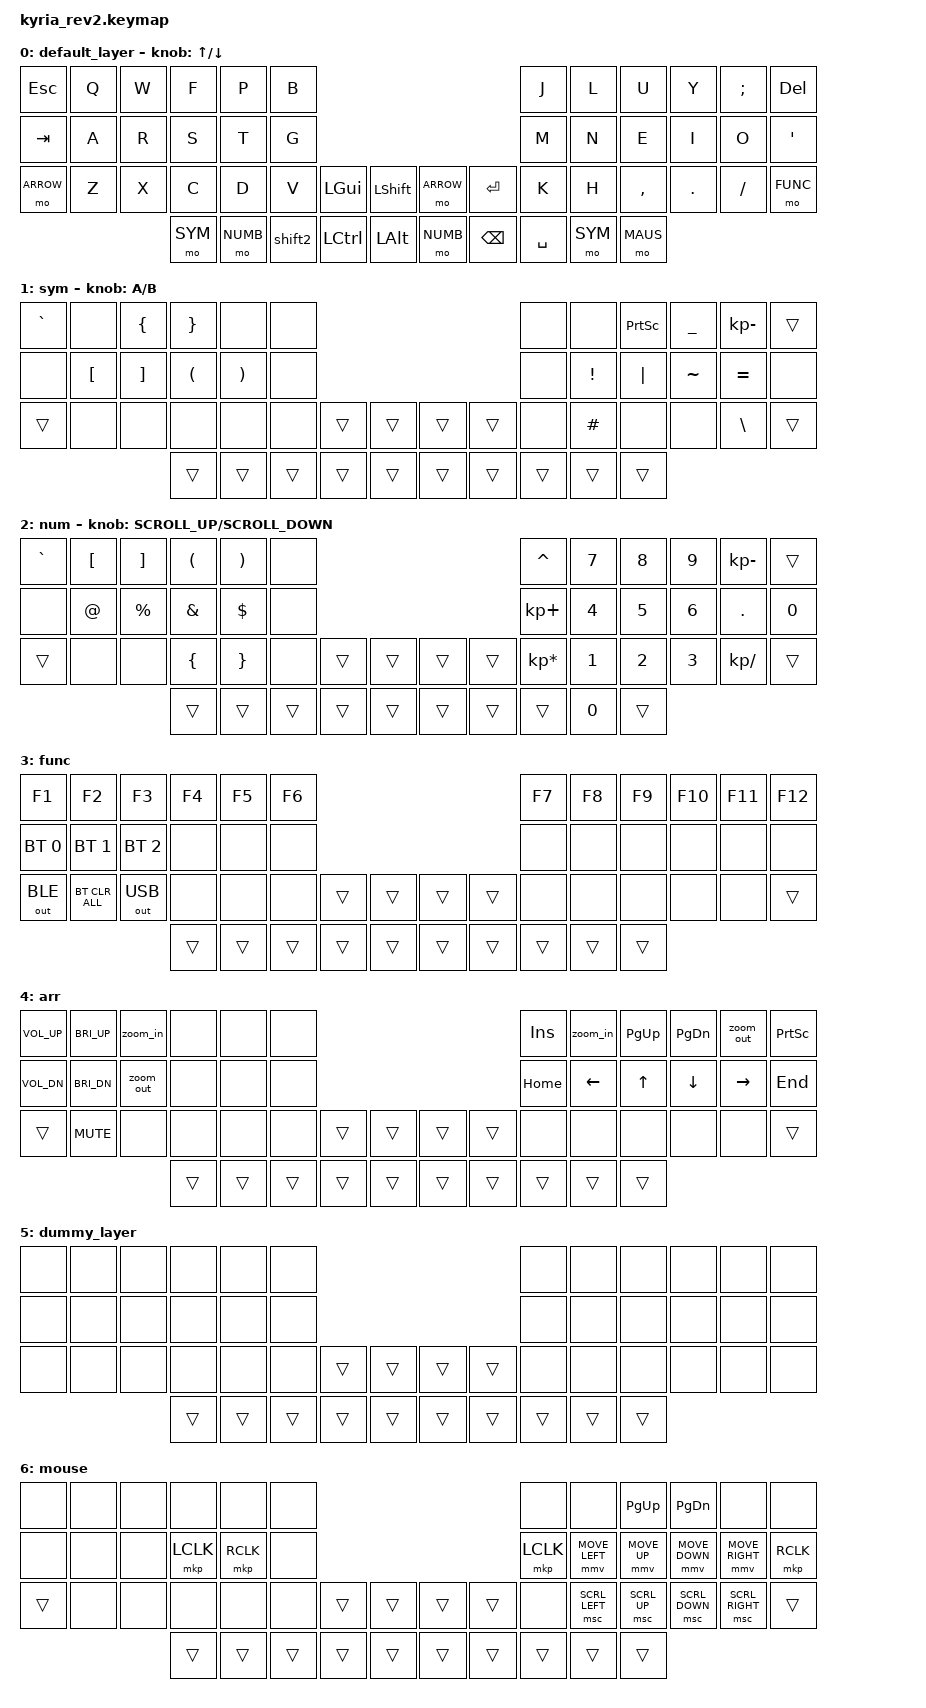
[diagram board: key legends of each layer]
/*
 * Copyright (c) 2020 The ZMK Contributors
 *
 * SPDX-License-Identifier: MIT
 */
// https://zmk.dev/docs/codes/keyboard-keypad
// https://zmk.dev/docs/behaviors/mod-morph
// https://github.com/sebanalysis/zmk-config/actions
// https://zmk.dev/docs/behaviors/tap-dance

#include <behaviors.dtsi>
#include <dt-bindings/zmk/keys.h>
#include <dt-bindings/zmk/bt.h>
#include <dt-bindings/zmk/outputs.h>

// mouse 
#define ZMK_POINTING_DEFAULT_MOVE_VAL 600  // default: 600
#define ZMK_POINTING_DEFAULT_SCRL_VAL 20   // default: 10
#include <dt-bindings/zmk/pointing.h>

/* Mouse scroll: remove ramp-up delay (instant scroll) */
&msc {
	time-to-max-speed-ms = <0>;
	acceleration-exponent = <1>;
};


#define DEFAULT 0
#define SYM 1
#define NUMB 2
#define FUNC 3
#define ARROW 4
#define DUMMY 5
#define MAUS 6


	


/ {
	
	conditional_layers {
        compatible = "zmk,conditional-layers";
        tri_layer {
            if-layers = <4 2>;
            then-layer = <5>;
		};
	};

    macros {
		zoom_out: zoom_out {
			label = "macro_zoom_out";
			compatible = "zmk,behavior-macro";
			#binding-cells = <0>;
			bindings
				= <&macro_press &kp LCTRL>
				, <&macro_tap &kp KP_MINUS>
				, <&macro_release &kp LCTRL>
				;
		};

		zoom_in: zoom_in {
			label = "macro_zoom_in";
			compatible = "zmk,behavior-macro";
			#binding-cells = <0>;
			bindings
				= <&macro_press &kp LCTRL>
				, <&macro_tap &kp KP_PLUS>
				, <&macro_release &kp LCTRL>
				;
		};
	};


	behaviors {
	
	  /* Tap-dance: tap = Shift, double-tap = Caps Lock */
	  shift2: shift2 {
	    compatible = "zmk,behavior-tap-dance";
	    label = "SHIFT2";
	    #binding-cells = <0>;
	    tapping-term-ms = <200>;
	    bindings = <&kp LSHIFT>, <&kp CAPSLOCK>;
	  };
	
	};



    keymap {
        compatible = "zmk,keymap";

        default_layer {
            bindings = <    
                &kp ESC             &kp Q           &kp W           &kp F      &kp P       &kp B                                                                       &kp J           &kp L          &kp U          &kp Y          &kp SEMI       &kp DEL
                &kp TAB             &kp A           &kp R           &kp S      &kp T       &kp G                                                                       &kp M           &kp N          &kp E          &kp I          &kp O          &kp SQT
                &mo ARROW           &kp Z           &kp X           &kp C      &kp D       &kp V   &kp LGUI        &kp LSHIFT              &mo ARROW        &kp RET    &kp K           &kp H          &kp COMMA      &kp DOT        &kp SLASH      &mo FUNC
                                                                    &mo SYM    &mo NUMB    &shift2 &kp LCTRL       &kp LALT                &mo NUMB         &kp BSPC   &kp SPACE       &mo SYM        &mo MAUS
            >;            
            sensor-bindings = <&inc_dec_kp UP DOWN>;            
        };          

        sym {          
            bindings = <            
                &kp GRAVE       &none           &kp LBRC        &kp RBRC    &none       &none                                                                     &none          &none               &kp PSCRN       &kp UNDER       &kp KP_MINUS    &trans
                &none           &kp LBKT        &kp RBKT        &kp LPAR    &kp RPAR    &none                                                                     &none          &kp EXCL            &kp PIPE        &kp TILDE       &kp EQUAL       &none
                &trans          &none           &none           &none       &none       &none    &trans       &trans                    &trans      &trans        &none          &kp HASH            &none           &none           &kp BSLH        &trans
                                                                &trans      &trans      &trans   &trans       &trans                    &trans      &trans        &trans         &trans              &trans                                           
            >;              
            sensor-bindings = <&inc_dec_kp A B>;                
        };                  

        num {               
            bindings = <            
                &kp GRAVE         &kp LBKT        &kp RBKT        &kp LPAR    &kp RPAR    &none                                                                      &kp CARET        &kp N7             &kp N8          &kp N9          &kp KP_MINUS    &trans
                &none             &kp AT          &kp PRCNT       &kp AMPS    &kp DLLR    &none                                                                      &kp KP_PLUS      &kp N4             &kp N5          &kp N6          &kp DOT         &kp N0
                &trans            &none           &none           &kp LBRC    &kp RBRC    &none   &trans       &trans                     &trans      &trans         &kp KP_ASTERISK  &kp N1             &kp N2          &kp N3          &kp KP_SLASH    &trans  
                                                                  &trans      &trans      &trans  &trans       &trans                     &trans      &trans         &trans           &kp N0             &trans                                               
            
            >;              
            sensor-bindings = <&inc_dec_kp K_SCROLL_UP K_SCROLL_DOWN>;              
        };              

        func {             
            bindings = <                
                &kp F1          &kp F2          &kp F3          &kp F4      &kp F5      &kp F6                                                                     &kp F7          &kp F8              &kp F9          &kp F10         &kp F11         &kp F12
                &bt BT_SEL 0    &bt BT_SEL 1    &bt BT_SEL 2    &none       &none       &none                                                                      &none           &none               &none           &none           &none           &none
                &out OUT_BLE    &bt BT_CLR_ALL  &out OUT_USB    &none       &none       &none   &trans       &trans                     &trans      &trans         &none           &none               &none           &none           &none           &trans
                                                                &trans      &trans      &trans  &trans       &trans                     &trans      &trans         &trans          &trans              &trans                                              
            >;          
        };    

        
        arr {          
            bindings = <            
                &kp C_VOL_UP   &kp C_BRI_UP     &zoom_in        &none       &none          &none                                                                      &kp INSERT      &zoom_in               &kp PG_UP       &kp PG_DN       &zoom_out             &kp PSCRN                      
                &kp C_VOL_DN   &kp C_BRI_DN     &zoom_out       &none       &none          &none                                                                      &kp HOME        &kp LEFT               &kp UP          &kp DOWN        &kp RIGHT             &kp END    
                &trans         &kp C_MUTE       &none           &none       &none          &none    &trans      &trans                     &trans      &trans         &none           &none           		 &none        	 &none      	 &none	   			   &trans           
                                                                &trans      &trans         &trans   &trans      &trans                     &trans      &trans         &trans          &trans                 &trans    
            >;      
        };  

//  cannot access this "dummy_layer" probably because it is the conditional combined layer of 2 and 4 specified earlier

        dummy_layer {
              bindings = <
              &none          &none            &none       &none       &none       &none                                                                  &none          &none           &none       &none       &none       &none    
              &none          &none            &none       &none       &none       &none                                                                  &none          &none           &none       &none       &none       &none    
              &none          &none            &none       &none       &none       &none       &trans       &trans                     &trans   &trans    &none          &none           &none       &none       &none       &none    
                                                          &trans      &trans      &trans      &trans       &trans                     &trans   &trans    &trans         &trans          &trans    
         >;
        };


        mouse {      
            bindings = <
                &none          &none            &none           &none           &none           &none                                                                       &none	       &none                &kp PG_UP       &kp PG_DN       &none       	&none    
                &none          &none            &none           &mkp LCLK       &mkp RCLK  		&none                                                                       &mkp LCLK      &mmv MOVE_LEFT       &mmv MOVE_UP    &mmv MOVE_DOWN  &mmv MOVE_RIGHT &mkp RCLK 
                &trans         &none            &none           &none           &none           &none    &trans       &trans                    &trans     &trans           &none          &msc SCRL_LEFT		&msc SCRL_UP	&msc SCRL_DOWN	&msc SCRL_RIGHT &trans   
                                                                &trans          &trans          &trans   &trans       &trans                    &trans     &trans           &trans         &trans               &trans
            
                >;
        }; 

    };


};





